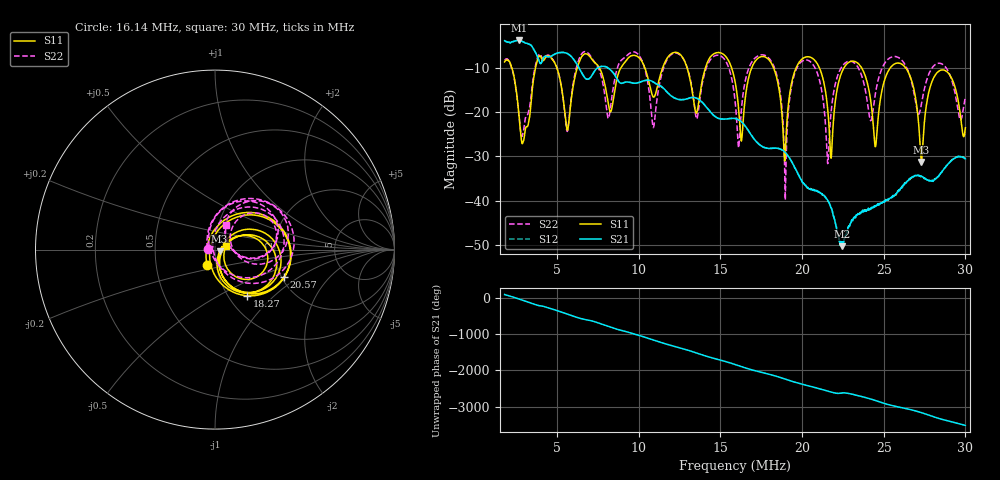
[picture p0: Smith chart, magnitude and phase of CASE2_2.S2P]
!Agilent Technologies,E5061B,MY49101568,A.02.00
!Date: Fri Mar 03 16:34:11 2023
!Data & Calibration Information:
!Freq	S11:SOLT2(ON)	S21:SOLT2(ON)	S12:SOLT2(ON)	S22:SOLT2(ON)
# Hz S dB R 50
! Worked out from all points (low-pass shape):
!   1155 points, 1.8 MHz to 30 MHz, reference 50 ohm
!   highest |S21| = -3.79 dB at 2.68 MHz (marker M1); lowest = -50.3 dB at 22.45 MHz (marker M2)
!   |S21| within 3 dB of the highest: start of sweep to 3.729 MHz; 4.919 MHz to 5.66 MHz (741.3 kHz wide, 14 % of centre)
!   lowest |S11| = -31.3 dB at 27.31 MHz (marker M3), VSWR 1.06, Z = 52.6 - j1.05 ohm
!   |S11| at or under -10 dB: 21.07 MHz to 22.56 MHz (1.496 MHz wide, 6.86 % of centre); 23.65 MHz to 25.4 MHz (1.748 MHz wide, 7.13 % of centre); 26.35 MHz to end of sweep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
!   |S22| runs from -39.8 to -6.3 dB; largest |S21 - S12| = 0.0068
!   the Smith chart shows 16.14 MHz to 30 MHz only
!   S11 on the Smith chart (normalised r, x): 16.14 MHz: 0.90, -0.16; 18.27 MHz: 1.22, -0.70; 20.57 MHz: 2.07, -0.75; 30 MHz: 1.13, +0.05
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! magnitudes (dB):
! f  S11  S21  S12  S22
! 1.8 MHz  -8.6  -3.8  -3.8  -8.2
! 2.68 MHz  -20.7  -3.8  -3.8  -20.9
! 4.488 MHz  -7.3  -7.5  -7.5  -7.1
! 5.637 MHz  -24.1  -6.7  -6.7  -24.4
! 6.516 MHz  -7.5  -11.1  -11.1  -6.8
! 8.154 MHz  -18.2  -10.0  -10.0  -21.4
! 9.546 MHz  -7.3  -13.3  -13.3  -6.5
! 11.21 MHz  -13.3  -13.8  -13.9  -15.1
! 15.9 MHz  -13.0  -21.4  -21.4  -17.3
! 16.14 MHz  -20.2  -21.8  -21.8  -27.5
! 18.27 MHz  -10.1  -28.2  -28.1  -9.6
! 18.98 MHz  -29.3  -29.1  -29.2  -39.8
! 19.52 MHz  -11.2  -32.2  -32.2  -11.7
! 20.57 MHz  -7.7  -37.4  -37.4  -8.8
! 20.62 MHz  -7.8  -37.5  -37.4  -9.0
! 21.57 MHz  -19.2  -39.9  -39.8  -31.6
! 22.45 MHz  -10.8  -50.3  -49.9  -9.7
! 24.5 MHz  -27.8  -41.1  -41.2  -15.6
! 25.31 MHz  -10.5  -39.6  -39.5  -7.9
! 27.31 MHz  -31.3  -34.5  -34.5  -18.1
! 28.46 MHz  -10.5  -34.0  -33.9  -9.0
! 30 MHz  -23.5  -30.5  -30.5  -16.5
